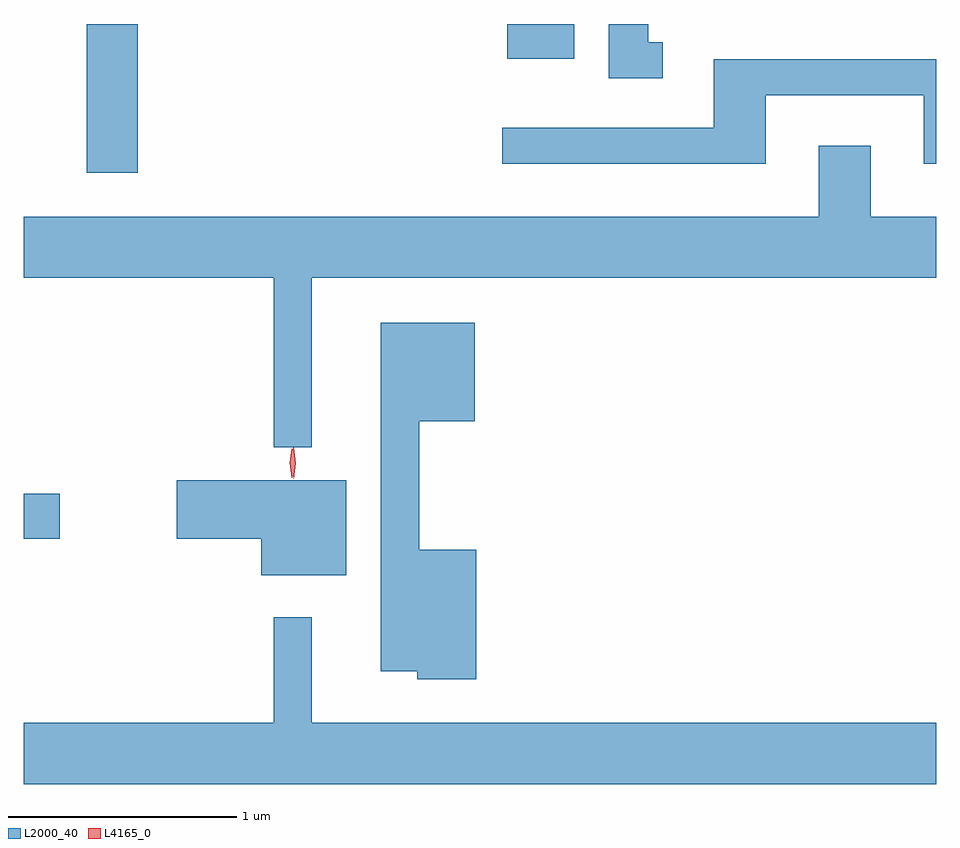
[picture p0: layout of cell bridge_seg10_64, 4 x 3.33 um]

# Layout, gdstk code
import gdstk
lib = gdstk.Library(unit=1e-6, precision=1e-09)
def R(c, l, rs):  # rectangles x0, y0, x1, y1
    for r in rs: c.add(gdstk.rectangle(r[:2], r[2:], *l))
def P(c, l, *ps):  # polygons
    for p in ps: c.add(gdstk.Polygon(p, *l))
L2000_40 = (2000, 40)
L4165_0 = (4165, 0)

bridge_seg10_64 = lib.new_cell('bridge_seg10_64')
R(bridge_seg10_64, L2000_40, [(1556.986,2192.691,1557.144,2192.889), (1557.261,2194.296,1557.484,2194.949), (1559.106,2194.796,1559.399,2194.949)])
P(bridge_seg10_64, L2000_40, [(1559.788,2194.869),(1559.724,2194.869),(1559.724,2194.949),(1559.551,2194.949),(1559.551,2194.711),(1559.788,2194.711)],
  [(1560.239,2194.636),(1560.931,2194.636),(1560.931,2194.336),(1560.986,2194.336),(1560.986,2194.794),(1560.011,2194.794),(1560.011,2194.494),(1559.083,2194.494),(1559.083,2194.336),(1560.239,2194.336)],
  [(1558.249,2193.836),(1560.986,2193.836),(1560.986,2194.104),(1560.699,2194.104),(1560.699,2194.414),(1560.471,2194.414),(1560.471,2194.104),(1556.986,2194.104),(1556.986,2193.836),(1558.081,2193.836),(1558.081,2193.093),(1558.249,2193.093)],
  [(1558.969,2192.644),(1558.719,2192.644),(1558.719,2193.206),(1558.964,2193.206),(1558.964,2193.639),(1558.551,2193.639),(1558.551,2192.111),(1558.711,2192.111),(1558.711,2192.076),(1558.969,2192.076)],
  [(1558.399,2192.949),(1557.656,2192.949),(1557.656,2192.691),(1558.026,2192.691),(1558.026,2192.531),(1558.399,2192.531)],
  [(1560.986,2191.884),(1558.249,2191.884),(1558.249,2192.348),(1558.081,2192.348),(1558.081,2191.884),(1556.986,2191.884),(1556.986,2191.616),(1560.986,2191.616)])
P(bridge_seg10_64, L4165_0, [(1558.169,2192.954),(1558.169,2192.954),(1558.159,2193.022),(1558.168,2193.09),(1558.168,2193.09),(1558.169,2193.09),(1558.179,2193.022),(1558.17,2192.954)],
  [(1558.161,2192.96),(1558.152,2193.024),(1558.161,2193.086),(1558.162,2193.087),(1558.162,2193.086),(1558.172,2193.024),(1558.162,2192.96),(1558.162,2192.96)])

lib.write_gds('bridge_seg10_64.gds')
